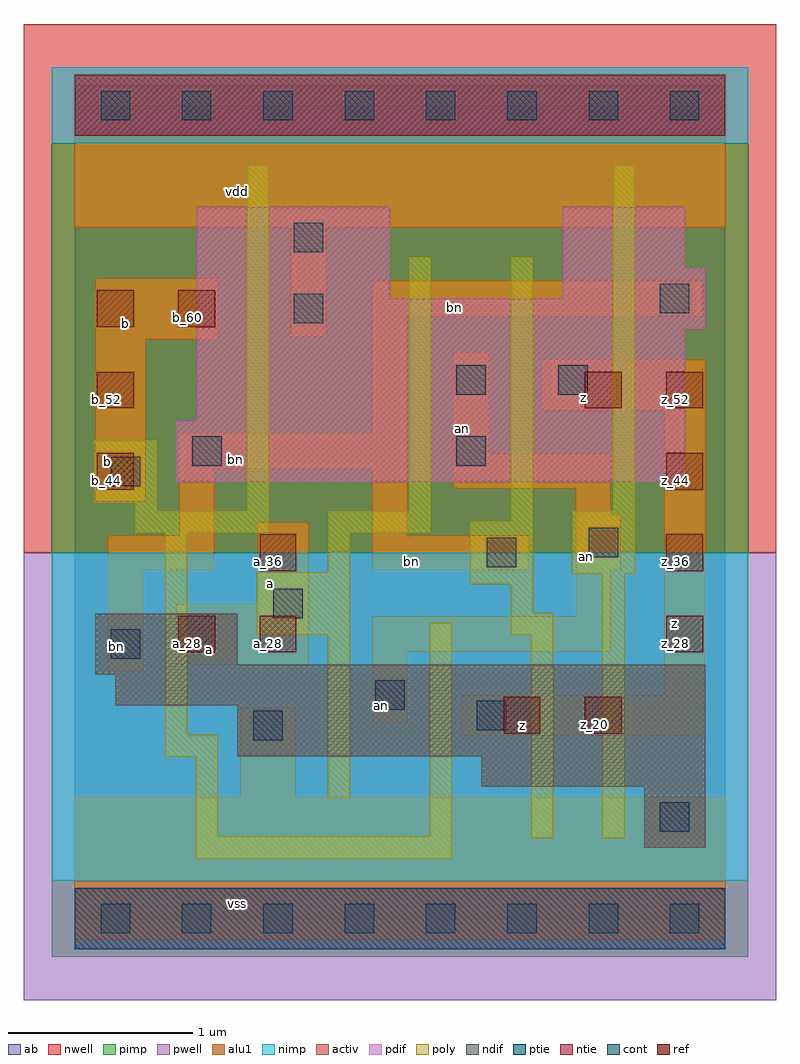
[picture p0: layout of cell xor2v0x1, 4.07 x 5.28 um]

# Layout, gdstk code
import gdstk
lib = gdstk.Library(unit=1e-6, precision=2.5e-09)
def R(c, l, rs):  # rectangles x0, y0, x1, y1
    for r in rs: c.add(gdstk.rectangle(r[:2], r[2:], *l))
def A(c, l, x, y, w, h, nx, ny, dx, dy):  # array of equal rectangles
    R(c, l, [(x+i*dx, y+j*dy, x+i*dx+w, y+j*dy+h) for i in range(nx) for j in range(ny)])
ndif = (3, 0)
pdif = (4, 0)
ntie = (5, 0)
ptie = (6, 0)
ref = (24, 0)
cont = (25, 0)
pwell = (41, 0)
nwell = (42, 0)
activ = (43, 0)
pimp = (44, 0)
nimp = (45, 0)
poly = (46, 0)
alu1 = (49, 0)
ab = (63, 0)

xor2v0x1 = lib.new_cell('xor2v0x1')
R(xor2v0x1, ndif, [(3.08,0.385,3.41,0.715), (2.2,0.715,3.41,0.88), (0.88,0.88,3.41,1.155), (0.22,1.155,3.41,1.32), (0.11,1.32,3.41,1.375), (0.11,1.375,0.88,1.65)])
R(xor2v0x1, pdif, [(0.55,2.365,3.3,2.695), (0.66,2.695,3.3,3.19), (0.66,3.19,3.41,3.355), (0.66,3.355,1.705,3.85), (2.64,3.355,3.41,3.52), (2.64,3.52,3.3,3.85)])
R(xor2v0x1, ntie, [(0,4.235,3.52,4.565)])
R(xor2v0x1, ptie, [(0,-0.165,3.52,0.165)])
A(xor2v0x1, ref, 3.2, 1.44, 0.2, 0.2, 1, 4, 0, 0.44)
A(xor2v0x1, ref, 0.12, 2.32, 0.2, 0.2, 1, 3, 0, 0.44)
R(xor2v0x1, ref, [(2.32,1,2.52,1.2), (2.76,1,2.96,1.2), (0.56,1.44,0.76,1.64), (1,1.44,1.2,1.64), (1,1.88,1.2,2.08), (2.76,2.76,2.96,2.96), (0.56,3.2,0.76,3.4)])
A(xor2v0x1, cont, 0.14, -0.08, 0.16, 0.16, 8, 2, 0.44, 4.4)
R(xor2v0x1, cont, [(3.165,0.47,3.325,0.63), (0.965,0.965,1.125,1.125), (2.175,1.02,2.335,1.18), (1.625,1.13,1.785,1.29), (0.195,1.405,0.355,1.565), (1.075,1.625,1.235,1.785), (2.23,1.9,2.39,2.06), (2.78,1.955,2.94,2.115), (0.195,2.34,0.355,2.5), (0.635,2.45,0.795,2.61), (2.065,2.45,2.225,2.61), (2.065,2.835,2.225,2.995), (2.615,2.835,2.775,2.995), (1.185,3.22,1.345,3.38), (3.165,3.275,3.325,3.435), (1.185,3.605,1.345,3.765)])
R(xor2v0x1, pwell, [(-0.275,-0.44,3.795,1.98)])
R(xor2v0x1, nwell, [(-0.275,1.98,3.795,4.84)])
R(xor2v0x1, activ, [(0,-0.165,3.52,0.165), (3.08,0.385,3.41,0.715), (2.2,0.715,3.41,0.88), (0.88,0.88,3.41,1.155), (0.22,1.155,3.41,1.32), (0.11,1.32,3.41,1.375), (0.11,1.375,0.88,1.65), (0.55,2.365,3.3,2.695), (0.66,2.695,3.3,3.19), (0.66,3.19,3.41,3.355), (0.66,3.355,1.705,3.85), (2.64,3.355,3.41,3.52), (2.64,3.52,3.3,3.85), (0,4.235,3.52,4.565)])
R(xor2v0x1, pimp, [(-0.125,-0.205,3.645,0.205), (-0.125,1.98,3.645,4.195)])
R(xor2v0x1, nimp, [(-0.125,0.205,3.645,1.98), (-0.125,4.195,3.645,4.605)])
R(xor2v0x1, poly, [(0.655,0.325,2.04,0.445), (2.47,0.435,2.59,1.535), (2.855,0.435,2.975,1.865), (0.655,0.445,0.775,0.875), (1.92,0.445,2.04,1.6), (1.37,0.655,1.49,1.535), (0.49,0.875,0.775,0.995), (0.49,0.995,0.61,2.085), (0.985,1.535,1.49,1.875), (2.36,1.535,2.59,1.655), (2.36,1.655,2.48,1.81), (2.14,1.81,2.48,2.15), (2.69,1.865,3.03,2.205), (1.37,1.875,1.49,2.085), (0.325,2.085,1.05,2.205), (1.37,2.085,1.93,2.205), (2.36,2.15,2.48,3.58), (0.325,2.205,0.445,2.25), (0.93,2.205,1.05,4.075), (1.81,2.205,1.93,3.58), (2.91,2.205,3.03,4.075), (0.105,2.25,0.445,2.59)])
R(xor2v0x1, alu1, [(0,-0.11,3.52,0.66), (0.895,0.66,1.195,1.14), (2.09,0.99,3.41,1.21), (1.61,1.06,1.8,1.445), (3.19,1.21,3.41,2.75), (0.18,1.335,0.37,1.885), (0.55,1.375,1.265,1.705), (1.61,1.445,2.9,1.635), (2.71,1.635,2.9,1.885), (0.99,1.705,1.265,2.145), (0.18,1.885,0.755,2.075), (1.61,1.885,2.46,2.075), (2.71,1.885,2.955,2.185), (0.565,2.075,0.755,2.435), (1.61,2.075,1.8,2.435), (2.71,2.185,2.9,2.325), (0.11,2.255,0.385,3.135), (2.05,2.325,2.9,2.515), (0.565,2.435,1.8,2.625), (2.05,2.515,2.24,3.065), (1.61,2.625,1.8,3.26), (2.53,2.75,3.41,3.025), (0.11,3.135,0.77,3.465), (1.17,3.15,1.36,3.74), (1.61,3.26,3.395,3.45), (0,3.74,3.52,4.51)])
R(xor2v0x1, ab, [(0,0,3.52,4.4)])
xor2v0x1.add(gdstk.Label('vss', (0.88,0.0825), layer=49, texttype=0))
xor2v0x1.add(gdstk.Label('z', (2.42,1.045), layer=49, texttype=0))
xor2v0x1.add(gdstk.Label('z', (3.245,1.595), layer=49, texttype=0))
xor2v0x1.add(gdstk.Label('an', (1.6575,1.155), layer=49, texttype=0))
xor2v0x1.add(gdstk.Label('a', (0.7275,1.4575), layer=49, texttype=0))
xor2v0x1.add(gdstk.Label('an', (2.77,1.96), layer=49, texttype=0))
xor2v0x1.add(gdstk.Label('bn', (1.8225,1.9325), layer=49, texttype=0))
xor2v0x1.add(gdstk.Label('z', (2.75,2.8175), layer=49, texttype=0))
xor2v0x1.add(gdstk.Label('an', (2.0975,2.6525), layer=49, texttype=0))
xor2v0x1.add(gdstk.Label('a', (1.0575,1.815), layer=49, texttype=0))
xor2v0x1.add(gdstk.Label('bn', (0.2275,1.4725), layer=49, texttype=0))
xor2v0x1.add(gdstk.Label('bn', (0.8725,2.4825), layer=49, texttype=0))
xor2v0x1.add(gdstk.Label('b', (0.1775,2.475), layer=49, texttype=0))
xor2v0x1.add(gdstk.Label('bn', (2.055,3.3075), layer=49, texttype=0))
xor2v0x1.add(gdstk.Label('b', (0.275,3.2175), layer=49, texttype=0))
xor2v0x1.add(gdstk.Label('vdd', (0.88,3.9325), layer=49, texttype=0))
xor2v0x1.add(gdstk.Label('b_44', (0.17,2.37), layer=24, texttype=0))
xor2v0x1.add(gdstk.Label('z_52', (2.81,2.81), layer=24, texttype=0))
xor2v0x1.add(gdstk.Label('a_28', (0.61,1.49), layer=24, texttype=0))
xor2v0x1.add(gdstk.Label('z_20', (2.81,1.05), layer=24, texttype=0))
xor2v0x1.add(gdstk.Label('z_44', (3.25,2.37), layer=24, texttype=0))
xor2v0x1.add(gdstk.Label('z_28', (3.25,1.49), layer=24, texttype=0))
xor2v0x1.add(gdstk.Label('z_36', (3.25,1.93), layer=24, texttype=0))
xor2v0x1.add(gdstk.Label('b_60', (0.61,3.25), layer=24, texttype=0))
xor2v0x1.add(gdstk.Label('a_28', (1.05,1.49), layer=24, texttype=0))
xor2v0x1.add(gdstk.Label('a_36', (1.05,1.93), layer=24, texttype=0))
xor2v0x1.add(gdstk.Label('b_52', (0.17,2.81), layer=24, texttype=0))
xor2v0x1.add(gdstk.Label('b_60', (0.17,3.25), layer=24, texttype=0))
xor2v0x1.add(gdstk.Label('z_20', (2.37,1.05), layer=24, texttype=0))
xor2v0x1.add(gdstk.Label('z_52', (3.25,2.81), layer=24, texttype=0))

lib.write_gds('xor2v0x1.gds')
